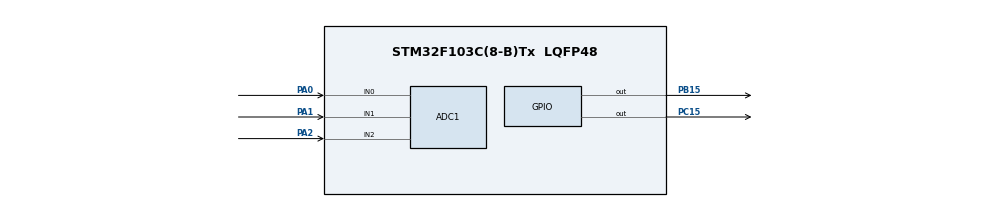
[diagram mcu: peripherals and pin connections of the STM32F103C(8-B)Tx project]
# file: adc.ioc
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ADC1.Channel-0\#ChannelRegularConversion=ADC_CHANNEL_1
ADC1.NbrOfConversion=1
ADC1.NbrOfConversionFlag=1
ADC1.Rank-0\#ChannelRegularConversion=1
ADC1.SamplingTime-0\#ChannelRegularConversion=ADC_SAMPLETIME_239CYCLES_5
ADC1.master=1
Mcu.Family=STM32F1
Mcu.Name=STM32F103C(8-B)Tx
Mcu.Package=LQFP48
NVIC.PriorityGroup=NVIC_PRIORITYGROUP_4
PA0-WKUP.Signal=ADCx_IN0
PA1.Signal=ADCx_IN1
PA13.Mode=Serial_Wire
PA13.Signal=SYS_JTMS-SWDIO
PA14.Mode=Serial_Wire
PA14.Signal=SYS_JTCK-SWCLK
PA2.Signal=ADCx_IN2
PB15.Signal=GPIO_Output
PC15-OSC32_OUT.Signal=GPIO_Output
PD0-OSC_IN.Mode=HSE-External-Oscillator
PD0-OSC_IN.Signal=RCC_OSC_IN
PD1-OSC_OUT.Mode=HSE-External-Oscillator
PD1-OSC_OUT.Signal=RCC_OSC_OUT
ProjectManager.HeapSize=0x200
ProjectManager.StackSize=0x400
ProjectManager.TargetToolchain=MDK-ARM V5.32
RCC.APB1Freq_Value=8000000
RCC.APB2Freq_Value=8000000
SH.ADCx_IN0.0=ADC1_IN0,IN0
SH.ADCx_IN1.0=ADC1_IN1,IN1
SH.ADCx_IN2.0=ADC1_IN2,IN2
board=custom

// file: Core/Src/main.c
/* USER CODE BEGIN Header */
/**
  ******************************************************************************
  * @file           : main.c
  * @brief          : Main program body
  ******************************************************************************
  * @attention
  *
  * Copyright (c) 2023 STMicroelectronics.
  * All rights reserved.
  *
  * This software is licensed under terms that can be found in the LICENSE file
  * in the root directory of this software component.
  * If no LICENSE file comes with this software, it is provided AS-IS.
  *
  ******************************************************************************
  */
/* USER CODE END Header */
#include "main.h"

ADC_HandleTypeDef hadc1;

void SystemClock_Config(void);
static void MX_GPIO_Init(void);
static void MX_ADC1_Init(void);

/* USER CODE BEGIN 0 */
uint32_t value_adc_channel0=0;
uint32_t value_adc_channel1=0;

uint16_t get_adc_channel(uint32_t channel)
{
  uint16_t adc=0;

  ADC_ChannelConfTypeDef sConfig = {0};
  sConfig.Channel = channel;
  sConfig.Rank = ADC_REGULAR_RANK_1;
  sConfig.SamplingTime = ADC_SAMPLETIME_239CYCLES_5;
  if (HAL_ADC_ConfigChannel(&hadc1, &sConfig) != HAL_OK)
  {
    Error_Handler();
  }

  HAL_ADC_Start(&hadc1);
  HAL_ADC_PollForConversion(&hadc1,100);
  adc=HAL_ADC_GetValue(&hadc1);
  HAL_ADC_Stop(&hadc1);
  HAL_Delay(10);

  return adc;
}
/* USER CODE END 0 */

int main(void)
{

  /* MCU Configuration--------------------------------------------------------*/

  /* Reset of all peripherals, Initializes the Flash interface and the Systick. */
  HAL_Init();

  /* Configure the system clock */
  SystemClock_Config();

  /* Initialize all configured peripherals */
  MX_GPIO_Init();
  MX_ADC1_Init();
  /* USER CODE BEGIN 2 */
  HAL_ADCEx_Calibration_Start(&hadc1);
  /* USER CODE END 2 */

  /* Infinite loop */
  while (1)
  {

    /* USER CODE BEGIN 3 */

    value_adc_channel0 = get_adc_channel(ADC_CHANNEL_0);
    value_adc_channel1 = get_adc_channel(ADC_CHANNEL_1);

    HAL_Delay(10);
    if(value_adc_channel0 >= 4000)
    {
      HAL_GPIO_WritePin(GPIOC,GPIO_PIN_15,1);
    }
    else if(value_adc_channel1 >= 4000)
      HAL_GPIO_WritePin(GPIOB,GPIO_PIN_15,1);
    else
    {
      HAL_GPIO_WritePin(GPIOC, GPIO_PIN_15,0);
      HAL_GPIO_WritePin(GPIOB, GPIO_PIN_15,0);
    }

  }
  /* USER CODE END 3 */
}

void SystemClock_Config(void)
{
  RCC_OscInitTypeDef RCC_OscInitStruct = {0};
  RCC_ClkInitTypeDef RCC_ClkInitStruct = {0};
  RCC_PeriphCLKInitTypeDef PeriphClkInit = {0};

  /** Initializes the RCC Oscillators according to the specified parameters
  * in the RCC_OscInitTypeDef structure.
  */
  RCC_OscInitStruct.OscillatorType = RCC_OSCILLATORTYPE_HSI;
  RCC_OscInitStruct.HSIState = RCC_HSI_ON;
  RCC_OscInitStruct.HSICalibrationValue = RCC_HSICALIBRATION_DEFAULT;
  RCC_OscInitStruct.PLL.PLLState = RCC_PLL_NONE;
  if (HAL_RCC_OscConfig(&RCC_OscInitStruct) != HAL_OK)
  {
    Error_Handler();
  }

  /** Initializes the CPU, AHB and APB buses clocks
  */
  RCC_ClkInitStruct.ClockType = RCC_CLOCKTYPE_HCLK|RCC_CLOCKTYPE_SYSCLK
                              |RCC_CLOCKTYPE_PCLK1|RCC_CLOCKTYPE_PCLK2;
  RCC_ClkInitStruct.SYSCLKSource = RCC_SYSCLKSOURCE_HSI;
  RCC_ClkInitStruct.AHBCLKDivider = RCC_SYSCLK_DIV1;
  RCC_ClkInitStruct.APB1CLKDivider = RCC_HCLK_DIV1;
  RCC_ClkInitStruct.APB2CLKDivider = RCC_HCLK_DIV1;

  if (HAL_RCC_ClockConfig(&RCC_ClkInitStruct, FLASH_LATENCY_0) != HAL_OK)
  {
    Error_Handler();
  }
  PeriphClkInit.PeriphClockSelection = RCC_PERIPHCLK_ADC;
  PeriphClkInit.AdcClockSelection = RCC_ADCPCLK2_DIV2;
  if (HAL_RCCEx_PeriphCLKConfig(&PeriphClkInit) != HAL_OK)
  {
    Error_Handler();
  }
}

static void MX_ADC1_Init(void)
{

  ADC_ChannelConfTypeDef sConfig = {0};

  /** Common config
  */
  hadc1.Instance = ADC1;
  hadc1.Init.ScanConvMode = ADC_SCAN_DISABLE;
  hadc1.Init.ContinuousConvMode = DISABLE;
  hadc1.Init.DiscontinuousConvMode = DISABLE;
  hadc1.Init.ExternalTrigConv = ADC_SOFTWARE_START;
  hadc1.Init.DataAlign = ADC_DATAALIGN_RIGHT;
  hadc1.Init.NbrOfConversion = 1;
  if (HAL_ADC_Init(&hadc1) != HAL_OK)
  {
    Error_Handler();
  }

  /** Configure Regular Channel
  */
  sConfig.Channel = ADC_CHANNEL_1;
  sConfig.Rank = ADC_REGULAR_RANK_1;
  sConfig.SamplingTime = ADC_SAMPLETIME_239CYCLES_5;
  if (HAL_ADC_ConfigChannel(&hadc1, &sConfig) != HAL_OK)
  {
    Error_Handler();
  }

}

static void MX_GPIO_Init(void)
{
  GPIO_InitTypeDef GPIO_InitStruct = {0};

  /* GPIO Ports Clock Enable */
  __HAL_RCC_GPIOC_CLK_ENABLE();
  __HAL_RCC_GPIOD_CLK_ENABLE();
  __HAL_RCC_GPIOA_CLK_ENABLE();
  __HAL_RCC_GPIOB_CLK_ENABLE();

  /*Configure GPIO pin Output Level */
  HAL_GPIO_WritePin(GPIOC, GPIO_PIN_15, GPIO_PIN_RESET);

  /*Configure GPIO pin Output Level */
  HAL_GPIO_WritePin(GPIOB, GPIO_PIN_15, GPIO_PIN_RESET);

  /*Configure GPIO pin : PC15 */
  GPIO_InitStruct.Pin = GPIO_PIN_15;
  GPIO_InitStruct.Mode = GPIO_MODE_OUTPUT_PP;
  GPIO_InitStruct.Pull = GPIO_NOPULL;
  GPIO_InitStruct.Speed = GPIO_SPEED_FREQ_LOW;
  HAL_GPIO_Init(GPIOC, &GPIO_InitStruct);

  /*Configure GPIO pin : PB15 */
  GPIO_InitStruct.Pin = GPIO_PIN_15;
  GPIO_InitStruct.Mode = GPIO_MODE_OUTPUT_PP;
  GPIO_InitStruct.Pull = GPIO_NOPULL;
  GPIO_InitStruct.Speed = GPIO_SPEED_FREQ_LOW;
  HAL_GPIO_Init(GPIOB, &GPIO_InitStruct);

}

void Error_Handler(void)
{
  __disable_irq();
  while (1)
  {
  }
}
